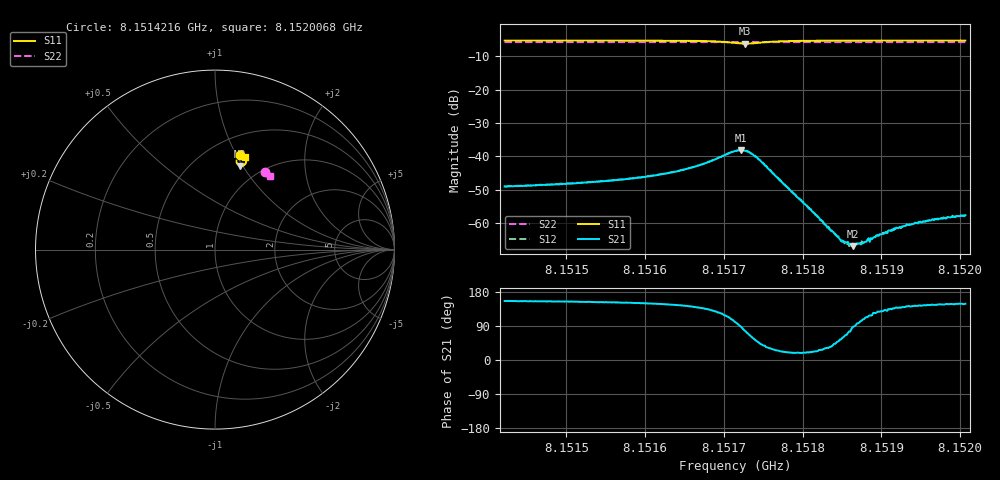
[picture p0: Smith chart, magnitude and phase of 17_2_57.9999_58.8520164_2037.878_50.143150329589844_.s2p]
#  HZ  S  RI  R  50.00
! Rohde & Schwarz Vector Network Analyzer
! Rohde-Schwarz,ZNB20-2Port,1311601062101988,3.16
! Created: UTC 3/21/2024, 12:51:01 AM
! freq[Hz]  re:S11  im:S11  re:S21  im:S21  re:S12  im:S12  re:S22  im:S22
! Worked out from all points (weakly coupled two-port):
!   401 points, 8.1514216 GHz to 8.1520068 GHz, reference 50 ohm
!   highest |S21| = -38.21 dB at 8.1517215 GHz (marker M1); lowest = -66.9 dB at 8.1518635 GHz (marker M2)
!   lowest |S11| = -6.2 dB at 8.1517274 GHz (marker M3), VSWR 2.90, Z = 39.8 + j48.7 ohm
!   |S11| at or under -10 dB: nowhere
!   |S22| runs from -5.8 to -5.8 dB; largest |S21 - S12| = 0.00034
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8.15142156e9  0.1377 0.5263  -0.0032 0.00144  -0.00318 0.00152  0.2781 0.4323
8.1515196e9  0.1465 0.5235  -0.00358 0.00179  -0.00356 0.00186  0.2835 0.4287
8.15157227e9  0.1522 0.5215  -0.00394 0.00215  -0.00391 0.00221  0.2863 0.4267
8.15161763e9  0.1585 0.5182  -0.00451 0.00279  -0.00449 0.00286  0.2888 0.4248
8.15166592e9  0.1679 0.5095  -0.00539 0.00465  -0.00534 0.00476  0.2915 0.4225
8.1517142e9  0.1635 0.472  -0.00214 0.0117  -0.00204 0.0117  0.2932 0.4197
8.15172152e9  0.1515 0.4664  0.000359 0.0123  0.000588 0.0123  0.2929 0.4194
8.15172737e9  0.1398 0.4666  0.00289 0.0117  0.00299 0.0118  0.2927 0.4193
8.15173469e9  0.1273 0.4739  0.00513 0.00966  0.00525 0.00973  0.2928 0.4195
8.15174347e9  0.12 0.4868  0.00619 0.00674  0.00631 0.00674  0.2933 0.4198
8.15181224e9  0.1415 0.5197  0.00138 0.000544  0.00142 0.000551  0.298 0.4183
8.15183419e9  0.1463 0.5206  0.000667 0.000449  0.000679 0.000466  0.2991 0.4172
8.15185028e9  0.1492 0.5207  0.000276 0.00044  0.000303 0.000455  0.3002 0.4167
8.15185906e9  0.1506 0.5206  0.000123 0.00046  0.000119 0.000431  0.3007 0.4164
8.15186345e9  0.1513 0.5205  3.16e-05 0.00045  5.53e-05 0.000483  0.3009 0.4162
8.15187955e9  0.1535 0.5204  -0.000188 0.000485  -0.000166 0.000474  0.3017 0.4156
8.15189564e9  0.1555 0.5203  -0.000394 0.000506  -0.000393 0.000527  0.3026 0.4148
8.15191027e9  0.1573 0.5201  -0.000531 0.000558  -0.000535 0.000556  0.3035 0.4142
8.15193222e9  0.1595 0.5196  -0.00073 0.000576  -0.000709 0.000626  0.3046 0.4135
8.15194685e9  0.1611 0.5193  -0.000813 0.000609  -0.00078 0.000591  0.3054 0.4128
8.15198782e9  0.1648 0.5185  -0.00102 0.000646  -0.00102 0.000674  0.3074 0.4112
8.15200684e9  0.1665 0.5181  -0.00111 0.000681  -0.0011 0.000691  0.3085 0.4105
